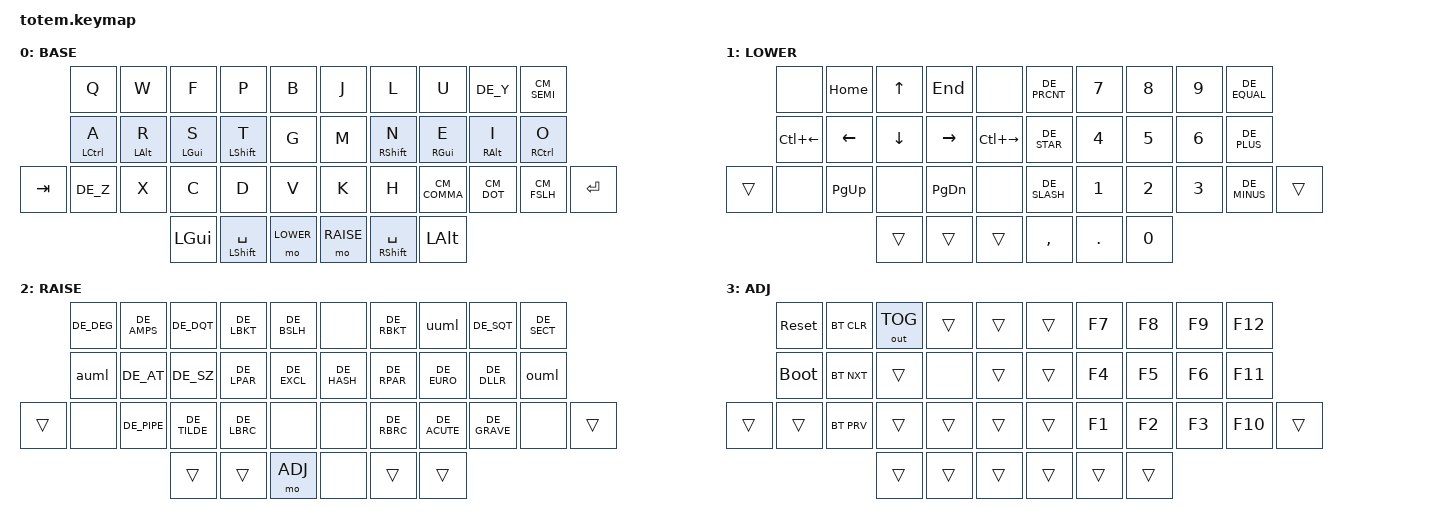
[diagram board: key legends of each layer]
//
//                                                        ▀▀▀▀▀     ▀▀▀▀▀          ▀▀█▀▀
//                                                        ▄▀▀▀▄  ▄  ▄▀▀▀▄  ▄  ▄▀▀▀▄  █  ▄▀▀▀▄
//                                                        █   █  █  █   █  █  █   █  █  █   █
//                                                         ▀▀▀   █   ▀▀▀   █   ▀▀▀   ▀   ▀▀▀
//                                                               █      ▄▄▄█▄▄▄    █   █  
//                                                               ▀      █  █  █     █▄█
//                                                             ▀▀▀▀▀    █  █  █      ▀
//                                                                      ▀  ▀  ▀
//
// ▄▄▄▄▄▄▄▄▄▄▄▄▄▄▄▄▄▄▄▄▄▄▄▄▄▄▄▄▄▄▄▄▄▄▄▄▄▄▄▄▄▄▄▄▄▄▄▄▄▄▄▄▄▄▄▄▄▄▄▄▄▄▄▄▄▄▄▄▄▄▄▄▄▄▄▄▄▄▄▄▄▄▄▄▄▄▄▄▄▄▄▄▄▄▄▄▄▄▄▄▄▄▄▄▄▄▄▄▄▄▄▄▄▄▄▄▄▄▄▄▄▄▄▄▄▄▄▄▄▄▄▄▄▄▄▄▄▄▄▄▄▄▄▄▄▄▄▄▄
       
#include <behaviors.dtsi>
#include <dt-bindings/zmk/keys.h>
#include <dt-bindings/zmk/bt.h>
#include <dt-bindings/zmk/outputs.h>

#include "keys_de.h"

#define BASE  0
#define LOWER 1
#define RAISE 2
#define ADJ   3

&mt {
  // CAGS
  quick-tap-ms = <100>;
  global-quick-tap;
  flavor = "tap-preferred";
  tapping-term-ms = <170>;
};

/ {
    combos {
            compatible = "zmk,combos";
            combo_esc {
                timeout-ms = <50>;
                key-positions = <0 1>;
                bindings = <&kp ESC>;
            };
            combo_backspace {
                timeout-ms = <50>;
                key-positions = <16 17>;
                bindings = <&kp BSPC>;
            };
            combo_delete {
                timeout-ms = <50>;
                key-positions = <17 18>;
                bindings = <&kp DEL>;
            };
            combo_word_delete {
                timeout-ms = <50>;
                key-positions = <16 18>;
                bindings = <&kp LA(BSPC)>;
            };
    };

    macros {
 
    };

    behaviors {

    };

        keymap {
                compatible = "zmk,keymap";
// ▄▄▄▄▄▄▄▄▄▄▄▄▄▄▄▄▄▄▄▄▄▄▄▄▄▄▄▄▄▄▄▄▄▄▄▄▄▄▄▄▄▄▄▄▄▄▄▄▄▄▄▄▄▄▄▄▄▄▄▄▄▄▄▄▄▄▄▄▄▄▄▄▄▄▄▄▄▄▄▄▄▄▄▄▄▄▄▄▄▄▄▄▄▄▄▄▄▄▄▄▄▄▄▄▄▄▄▄▄▄▄▄▄▄▄▄▄▄▄▄▄▄▄▄▄▄▄▄▄▄▄▄▄▄▄▄▄▄▄▄▄▄▄▄▄▄▄▄▄

                base_layer {
// ┏━━━━━━━━━━━━━━━━━━━━━━━━━━━━━━━━━━━━━━━┓
label= "BASE"                              ;
// ┗━━━━━━━━━━━━━━━━━━━━━━━━━━━━━━━━━━━━━━━┛
//             ┏━━━━━━━━━━━┳━━━━━━━━━━━┳━━━━━━━━━━━┳━━━━━━━━━━━┳━━━━━━━━━━━┓   ┏━━━━━━━━━━━┳━━━━━━━━━━━┳━━━━━━━━━━━┳━━━━━━━━━━━┳━━━━━━━━━━━┓
//             ┃     Q     ┃     W     ┃     F     ┃     P     ┃     B     ┃   ┃     J     ┃     L     ┃     U     ┃     Y     ┃     ;     ┃
//             ┣━━━━━━━━━━━╋━━━━━━━━━━━╋━━━━━━━━━━━╋━━━━━━━━━━━╋━━━━━━━━━━━┫   ┣━━━━━━━━━━━╋━━━━━━━━━━━╋━━━━━━━━━━━╋━━━━━━━━━━━╋━━━━━━━━━━━┫
//             ┃     A     ┃     R     ┃     S     ┃     T     ┃     G     ┃   ┃     M     ┃     N     ┃     E     ┃     I     ┃     O     ┃
// ┏━━━━━━━━━━━╋━━━━━━━━━━━╋━━━━━━━━━━━╋━━━━━━━━━━━╋━━━━━━━━━━━╋━━━━━━━━━━━┫   ┣━━━━━━━━━━━╋━━━━━━━━━━━╋━━━━━━━━━━━╋━━━━━━━━━━━╋━━━━━━━━━━━╋━━━━━━━━━━━┓
// ┃    TAB    ┃     Z     ┃     X     ┃     C     ┃     D     ┃     V     ┃   ┃     K     ┃     H     ┃     ,     ┃     .     ┃     /     ┃   ENTER   ┃
// ┗━━━━━━━━━━━┻━━━━━━━━━━━┻━━━━━━━━━━━╋━━━━━━━━━━━╋━━━━━━━━━━━╋━━━━━━━━━━━┫   ┣━━━━━━━━━━━╋━━━━━━━━━━━╋━━━━━━━━━━━╋━━━━━━━━━━━┻━━━━━━━━━━━┻━━━━━━━━━━━┛
//                                     ┃   LGUI    ┃   LSHFT   ┃   LOWER   ┃   ┃   RAISE   ┃    SPC    ┃   LALT    ┃
//                                     ┗━━━━━━━━━━━┻━━━━━━━━━━━┻━━━━━━━━━━━┛   ┗━━━━━━━━━━━┻━━━━━━━━━━━┻━━━━━━━━━━━┛
 bindings = <
// ╷           ╷           ╷           ╷           ╷           ╷           ╷   ╷           ╷           ╷           ╷           ╷           ╷           ╷

                &kp Q       &kp W       &kp F       &kp P       &kp B           &kp J       &kp L       &kp U       &kp DE_Y    &CM_SEMI
                &mt LCTRL A &mt LALT R  &mt LGUI S  &mt LSHFT T &kp G           &kp M       &mt RSHFT N &mt RGUI E  &mt RALT I  &mt RCTRL O
    &kp TAB     &kp DE_Z    &kp X       &kp C       &kp D       &kp V           &kp K       &kp H       &CM_COMMA   &CM_DOT     &CM_FSLH   &kp RET
                                        &kp LGUI    &mt LSHFT SPACE  &mo LOWER  &mo RAISE   &mt RSHFT SPACE &kp LALT
                        >;
                };

// ▄▄▄▄▄▄▄▄▄▄▄▄▄▄▄▄▄▄▄▄▄▄▄▄▄▄▄▄▄▄▄▄▄▄▄▄▄▄▄▄▄▄▄▄▄▄▄▄▄▄▄▄▄▄▄▄▄▄▄▄▄▄▄▄▄▄▄▄▄▄▄▄▄▄▄▄▄▄▄▄▄▄▄▄▄▄▄▄▄▄▄▄▄▄▄▄▄▄▄▄▄▄▄▄▄▄▄▄▄▄▄▄▄▄▄▄▄▄▄▄▄▄▄▄▄▄▄▄▄▄▄▄▄▄▄▄▄▄▄▄▄▄▄▄▄▄▄▄▄

                lower_layer {
// ┏━━━━━━━━━━━━━━━━━━━━━━━━━━━━━━━━━━━━━━━┓
label= "LOWER"                              ;
// ┗━━━━━━━━━━━━━━━━━━━━━━━━━━━━━━━━━━━━━━━┛
//             ┏━━━━━━━━━━━┳━━━━━━━━━━━┳━━━━━━━━━━━┳━━━━━━━━━━━┳━━━━━━━━━━━┓   ┏━━━━━━━━━━━┳━━━━━━━━━━━┳━━━━━━━━━━━┳━━━━━━━━━━━┳━━━━━━━━━━━┓
//             ┃           ┃   HOME    ┃     UP    ┃    END    ┃           ┃   ┃     %     ┃     7     ┃     8     ┃     9     ┃     =     ┃
//             ┣━━━━━━━━━━━╋━━━━━━━━━━━╋━━━━━━━━━━━╋━━━━━━━━━━━╋━━━━━━━━━━━┫   ┣━━━━━━━━━━━╋━━━━━━━━━━━╋━━━━━━━━━━━╋━━━━━━━━━━━╋━━━━━━━━━━━┫
//             ┃CTRL(LEFT) ┃   LEFT    ┃    DOWN   ┃   RIGHT   ┃CTRL(RIGHT)┃   ┃     *     ┃     4     ┃     5     ┃     6     ┃     +     ┃
// ┏━━━━━━━━━━━╋━━━━━━━━━━━╋━━━━━━━━━━━╋━━━━━━━━━━━╋━━━━━━━━━━━╋━━━━━━━━━━━┫   ┣━━━━━━━━━━━╋━━━━━━━━━━━╋━━━━━━━━━━━╋━━━━━━━━━━━╋━━━━━━━━━━━╋━━━━━━━━━━━┓
// ┃           ┃           ┃   P UP    ┃           ┃  P DOWN   ┃           ┃   ┃     /     ┃     1     ┃     2     ┃     3     ┃     -     ┃           ┃
// ┗━━━━━━━━━━━┻━━━━━━━━━━━┻━━━━━━━━━━━╋━━━━━━━━━━━╋━━━━━━━━━━━╋━━━━━━━━━━━┫   ┣━━━━━━━━━━━╋━━━━━━━━━━━╋━━━━━━━━━━━╋━━━━━━━━━━━┻━━━━━━━━━━━┻━━━━━━━━━━━┛
//                                     ┃   LGUI    ┃   LSHFT   ┃           ┃   ┃     ,     ┃     .     ┃     0     ┃
//                                     ┗━━━━━━━━━━━┻━━━━━━━━━━━┻━━━━━━━━━━━┛   ┗━━━━━━━━━━━┻━━━━━━━━━━━┻━━━━━━━━━━━┛
 bindings = <
// ╷           ╷           ╷           ╷           ╷           ╷           ╷   ╷           ╷           ╷           ╷           ╷           ╷           ╷

                &none       &kp HOME    &kp UP      &kp END     &none           &kp DE_PRCNT &kp N7     &kp N8      &kp N9      &kp DE_EQUAL
                &kp LC(LEFT) &kp LEFT   &kp DOWN    &kp RIGHT   &kp LC(RIGHT)   &kp DE_STAR  &kp N4     &kp N5      &kp N6      &kp DE_PLUS
    &trans      &none       &kp PG_UP   &none       &kp PG_DN   &none           &kp DE_SLASH &kp N1     &kp N2      &kp N3      &kp DE_MINUS   &trans      
                                        &trans      &trans      &trans          &kp COMMA   &kp DOT     &kp N0      
                        >;
                };

// ▄▄▄▄▄▄▄▄▄▄▄▄▄▄▄▄▄▄▄▄▄▄▄▄▄▄▄▄▄▄▄▄▄▄▄▄▄▄▄▄▄▄▄▄▄▄▄▄▄▄▄▄▄▄▄▄▄▄▄▄▄▄▄▄▄▄▄▄▄▄▄▄▄▄▄▄▄▄▄▄▄▄▄▄▄▄▄▄▄▄▄▄▄▄▄▄▄▄▄▄▄▄▄▄▄▄▄▄▄▄▄▄▄▄▄▄▄▄▄▄▄▄▄▄▄▄▄▄▄▄▄▄▄▄▄▄▄▄▄▄▄▄▄▄▄▄▄▄▄

                raise_layer {
// ┏━━━━━━━━━━━━━━━━━━━━━━━━━━━━━━━━━━━━━━━┓
label= "RAISE"                             ;
// ┗━━━━━━━━━━━━━━━━━━━━━━━━━━━━━━━━━━━━━━━┛
//             ┏━━━━━━━━━━━┳━━━━━━━━━━━┳━━━━━━━━━━━┳━━━━━━━━━━━┳━━━━━━━━━━━┓   ┏━━━━━━━━━━━┳━━━━━━━━━━━┳━━━━━━━━━━━┳━━━━━━━━━━━┳━━━━━━━━━━━┓
//             ┃     °     ┃     &     ┃     "     ┃     [     ┃     \     ┃   ┃           ┃     ]     ┃     Ü     ┃     '     ┃     §     ┃
//             ┣━━━━━━━━━━━╋━━━━━━━━━━━╋━━━━━━━━━━━╋━━━━━━━━━━━╋━━━━━━━━━━━┫   ┣━━━━━━━━━━━╋━━━━━━━━━━━╋━━━━━━━━━━━╋━━━━━━━━━━━╋━━━━━━━━━━━┫
//             ┃     Ä     ┃     @     ┃     ß     ┃     (     ┃     !     ┃   ┃     #     ┃     )     ┃     €     ┃     $     ┃     Ö     ┃
// ┏━━━━━━━━━━━╋━━━━━━━━━━━╋━━━━━━━━━━━╋━━━━━━━━━━━╋━━━━━━━━━━━╋━━━━━━━━━━━┫   ┣━━━━━━━━━━━╋━━━━━━━━━━━╋━━━━━━━━━━━╋━━━━━━━━━━━╋━━━━━━━━━━━╋━━━━━━━━━━━┓
// ┃           ┃           ┃     |     ┃     ~     ┃     {     ┃           ┃   ┃           ┃     }     ┃     ´     ┃     `     ┃           ┃           ┃
// ┗━━━━━━━━━━━┻━━━━━━━━━━━┻━━━━━━━━━━━╋━━━━━━━━━━━╋━━━━━━━━━━━╋━━━━━━━━━━━┫   ┣━━━━━━━━━━━╋━━━━━━━━━━━╋━━━━━━━━━━━╋━━━━━━━━━━━┻━━━━━━━━━━━┻━━━━━━━━━━━┛
//                                     ┃           ┃           ┃    ADJ    ┃   ┃           ┃           ┃           ┃
//                                     ┗━━━━━━━━━━━┻━━━━━━━━━━━┻━━━━━━━━━━━┛   ┗━━━━━━━━━━━┻━━━━━━━━━━━┻━━━━━━━━━━━┛
 bindings = <
// ╷           ╷           ╷           ╷           ╷           ╷           ╷   ╷           ╷           ╷           ╷           ╷           ╷           ╷

                &kp DE_DEG  &kp DE_AMPS &kp DE_DQT   &kp DE_LBKT &kp DE_BSLH     &none       &kp DE_RBKT &kp uuml     &kp DE_SQT   &kp DE_SECT
                &kp auml    &kp DE_AT   &kp DE_SZ    &kp DE_LPAR &kp DE_EXCL     &kp DE_HASH &kp DE_RPAR &kp DE_EURO  &kp DE_DLLR  &kp ouml             
    &trans      &none       &kp DE_PIPE &kp DE_TILDE &kp DE_LBRC &none           &none       &kp DE_RBRC &kp DE_ACUTE &kp DE_GRAVE &none       &trans         
                                        &trans      &trans      &mo ADJ         &none       &trans      &trans      
                        >;
                };

// ▄▄▄▄▄▄▄▄▄▄▄▄▄▄▄▄▄▄▄▄▄▄▄▄▄▄▄▄▄▄▄▄▄▄▄▄▄▄▄▄▄▄▄▄▄▄▄▄▄▄▄▄▄▄▄▄▄▄▄▄▄▄▄▄▄▄▄▄▄▄▄▄▄▄▄▄▄▄▄▄▄▄▄▄▄▄▄▄▄▄▄▄▄▄▄▄▄▄▄▄▄▄▄▄▄▄▄▄▄▄▄▄▄▄▄▄▄▄▄▄▄▄▄▄▄▄▄▄▄▄▄▄▄▄▄▄▄▄▄▄▄▄▄▄▄▄▄▄▄


                adjust_layer {
// ┏━━━━━━━━━━━━━━━━━━━━━━━━━━━━━━━━━━━━━━━┓
label= "ADJ"                               ;
// ┗━━━━━━━━━━━━━━━━━━━━━━━━━━━━━━━━━━━━━━━┛
//             ┏━━━━━━━━━━━┳━━━━━━━━━━━┳━━━━━━━━━━━┳━━━━━━━━━━━┳━━━━━━━━━━━┓   ┏━━━━━━━━━━━┳━━━━━━━━━━━┳━━━━━━━━━━━┳━━━━━━━━━━━┳━━━━━━━━━━━┓
//             ┃   RESET   ┃ BT CLEAR  ┃  OUT TOG  ┃           ┃           ┃   ┃           ┃    F7     ┃    F8     ┃    F9     ┃    F12    ┃
//             ┣━━━━━━━━━━━╋━━━━━━━━━━━╋━━━━━━━━━━━╋━━━━━━━━━━━╋━━━━━━━━━━━┫   ┣━━━━━━━━━━━╋━━━━━━━━━━━╋━━━━━━━━━━━╋━━━━━━━━━━━╋━━━━━━━━━━━┫
//             ┃ BOOTLOAD  ┃ BT NEXT   ┃           ┃           ┃           ┃   ┃           ┃    F4     ┃    F5     ┃    F6     ┃    F11    ┃
// ┏━━━━━━━━━━━╋━━━━━━━━━━━╋━━━━━━━━━━━╋━━━━━━━━━━━╋━━━━━━━━━━━╋━━━━━━━━━━━┫   ┣━━━━━━━━━━━╋━━━━━━━━━━━╋━━━━━━━━━━━╋━━━━━━━━━━━╋━━━━━━━━━━━╋━━━━━━━━━━━┓
// ┃           ┃           ┃ BT PREV   ┃           ┃           ┃           ┃   ┃           ┃    F1     ┃    F2     ┃    F3     ┃    F10    ┃           ┃
// ┗━━━━━━━━━━━┻━━━━━━━━━━━┻━━━━━━━━━━━╋━━━━━━━━━━━╋━━━━━━━━━━━╋━━━━━━━━━━━┫   ┣━━━━━━━━━━━╋━━━━━━━━━━━╋━━━━━━━━━━━╋━━━━━━━━━━━┻━━━━━━━━━━━┻━━━━━━━━━━━┛
//                                     ┃           ┃           ┃           ┃   ┃           ┃           ┃           ┃
//                                     ┗━━━━━━━━━━━┻━━━━━━━━━━━┻━━━━━━━━━━━┛   ┗━━━━━━━━━━━┻━━━━━━━━━━━┻━━━━━━━━━━━┛
 bindings = <
// ╷           ╷           ╷           ╷           ╷           ╷           ╷   ╷           ╷           ╷           ╷           ╷           ╷           ╷

                &sys_reset  &bt BT_CLR  &out OUT_TOG &trans     &trans          &trans      &kp F7      &kp F8      &kp F9      &kp F12
                &bootloader &bt BT_NXT  &trans      &none       &trans          &trans      &kp F4      &kp F5      &kp F6      &kp F11  
    &trans      &trans      &bt BT_PRV  &trans      &trans      &trans          &trans      &kp F1      &kp F2      &kp F3      &kp F10     &trans         
                                        &trans      &trans      &trans          &trans      &trans      &trans      
                        >;
                };
        };
};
